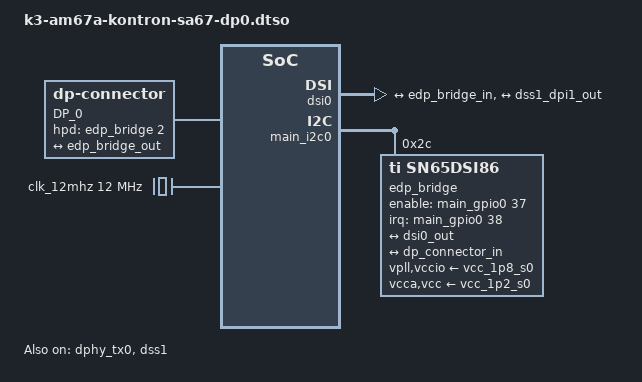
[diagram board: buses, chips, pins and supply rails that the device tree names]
// SPDX-License-Identifier: GPL-2.0-only OR MIT
/*
 * DisplayPort bridge and DP0 output.
 *
 * Copyright (c) 2025 Kontron Europe GmbH
 */

/dts-v1/;
/plugin/;

#include <dt-bindings/gpio/gpio.h>
#include <dt-bindings/interrupt-controller/irq.h>

&{/} {
	connector-2 {
		compatible = "dp-connector";
		label = "DP_0";
		type = "full-size";
		hpd-gpios = <&edp_bridge 2 GPIO_ACTIVE_HIGH>;

		port {
			dp_connector_in: endpoint {
				remote-endpoint = <&edp_bridge_out>;
			};
		};
	};

	clk_12mhz: clock-12000000 {
		compatible = "fixed-clock";
		#clock-cells = <0>;
		clock-frequency = <12000000>;
	};
};

&dphy_tx0 {
	status = "okay";
};

&dsi0 {
	status = "okay";
	#address-cells = <1>;
	#size-cells = <0>;

	ports {
		#address-cells = <1>;
		#size-cells = <0>;

		port@0 {
			reg = <0>;

			dsi0_out: endpoint {
				remote-endpoint = <&edp_bridge_in>;
			};
		};

		port@1 {
			reg = <1>;

			dsi0_in: endpoint {
				remote-endpoint = <&dss1_dpi1_out>;
			};
		};
	};
};

&dss1 {
	status = "okay";
	assigned-clocks = <&k3_clks 232 0>,
			  <&k3_clks 232 4>;
	assigned-clock-parents = <&k3_clks 232 1>,
				 <&k3_clks 232 5>;
};

&dss1_ports {
	#address-cells = <1>;
	#size-cells = <0>;

	/* DSS1-VP1: DSI Output */
	port@1 {
		reg = <1>;

		dss1_dpi1_out: endpoint {
			remote-endpoint = <&dsi0_in>;
		};
	};
};

&main_i2c0 {
	#address-cells = <1>;
	#size-cells = <0>;

	edp_bridge: bridge@2c {
		compatible = "ti,sn65dsi86";
		reg = <0x2c>;

		pinctrl-names = "default";
		pinctrl-0 = <&edp_bridge_pins_default>;

		interrupts-extended = <&main_gpio0 38 IRQ_TYPE_EDGE_FALLING>;

		enable-gpios = <&main_gpio0 37 GPIO_ACTIVE_HIGH>;

		gpio-controller;
		#gpio-cells = <2>;
		gpio-line-names = "", "EDP_BRIDGE_HDP", "", "";

		vpll-supply = <&vcc_1p8_s0>;
		vccio-supply = <&vcc_1p8_s0>;
		vcca-supply = <&vcc_1p2_s0>;
		vcc-supply = <&vcc_1p2_s0>;

		clocks = <&clk_12mhz>;
		clock-names = "refclk";

		no-hpd;

		ports {
			#address-cells = <1>;
			#size-cells = <0>;

			port@0 {
				reg = <0>;
				edp_bridge_in: endpoint {
					remote-endpoint = <&dsi0_out>;
				};
			};

			port@1 {
				reg = <1>;
				edp_bridge_out: endpoint {
					remote-endpoint = <&dp_connector_in>;
				};
			};
		};

		aux-bus {
			edp_panel: panel {
				power-supply = <&vcc_lcd0_panel>;
				backlight = <&lcd0_backlight>;
				hpd-gpios = <&edp_bridge 2 GPIO_ACTIVE_HIGH>;
				status = "disabled";

				port {
					edp_panel_in: endpoint {
					};
				};
			};
		};
	};
};
